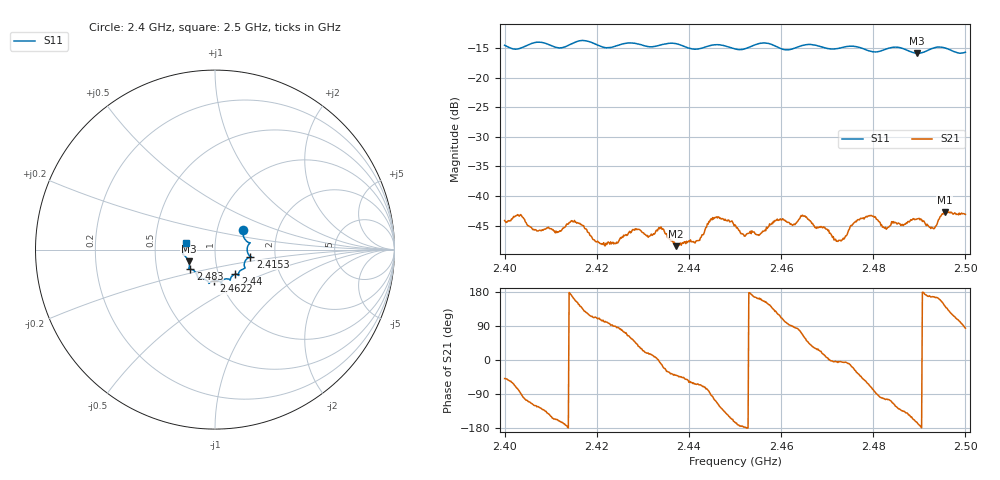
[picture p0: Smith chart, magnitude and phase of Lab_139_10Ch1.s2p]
# Hz S RI R 50
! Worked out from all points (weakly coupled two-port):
!   601 points, 2.4 GHz to 2.5 GHz, reference 50 ohm
!   highest |S21| = -42.70 dB at 2.4955 GHz (marker M1); lowest = -48.5 dB at 2.4372 GHz (marker M2)
!   lowest |S11| = -15.9 dB at 2.4895 GHz (marker M3), VSWR 1.38, Z = 36.9 - j5 ohm
!   |S11| at or under -10 dB: start of sweep to end of sweep
!   S12 and S22 are empty: the file has one direction only
!   S11 on the Smith chart (normalised r, x): 2.4 GHz: 1.33, +0.29; 2.4153 GHz: 1.48, -0.12; 2.44 GHz: 1.20, -0.34; 2.4622 GHz: 0.93, -0.33; 2.483 GHz: 0.74, -0.17; 2.5 GHz: 0.72, +0.06
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2.4e9  0.1553 0.1066  0.00408 -0.00468  0 0  0 0
2.403167e9  0.167 0.0575  0.000969 -0.00668  0 0  0 0
2.411333e9  0.1796 0.00886  -0.0045 -0.00193  0 0  0 0
2.415333e9  0.1962 -0.0388  -0.00551 0.00237  0 0  0 0
2.416667e9  0.2019 -0.0429  -0.00436 0.00373  0 0  0 0
2.421333e9  0.1722 -0.057  -0.00103 0.0038  0 0  0 0
2.433333e9  0.131 -0.1334  0.00527 9.8e-05  0 0  0 0
2.437167e9  0.1317 -0.143  0.00288 -0.00243  0 0  0 0
2.44e9  0.114 -0.1367  0.00216 -0.00357  0 0  0 0
2.445333e9  0.0847 -0.1696  -0.00121 -0.00626  0 0  0 0
2.45e9  0.0646 -0.163  -0.0055 -0.00153  0 0  0 0
2.455e9  0.036 -0.1903  -0.0045 0.00139  0 0  0 0
2.462167e9  -0.00732 -0.174  -9.44e-05 0.0058  0 0  0 0
2.466667e9  -0.0343 -0.1878  0.00466 0.00355  0 0  0 0
2.4725e9  -0.0751 -0.1608  0.0042 -0.000315  0 0  0 0
2.479e9  -0.1035 -0.1337  0.00301 -0.00608  0 0  0 0
2.483e9  -0.1377 -0.1095  -0.00121 -0.00518  0 0  0 0
2.483333e9  -0.1401 -0.1093  -0.00133 -0.00528  0 0  0 0
2.4895e9  -0.1466 -0.0659  -0.00617 -0.0017  0 0  0 0
2.493e9  -0.176 -0.0275  -0.00518 0.00124  0 0  0 0
2.4955e9  -0.1783 -0.0173  -0.00588 0.00437  0 0  0 0
2.5e9  -0.1597 0.0391  0.000737 0.00695  0 0  0 0
